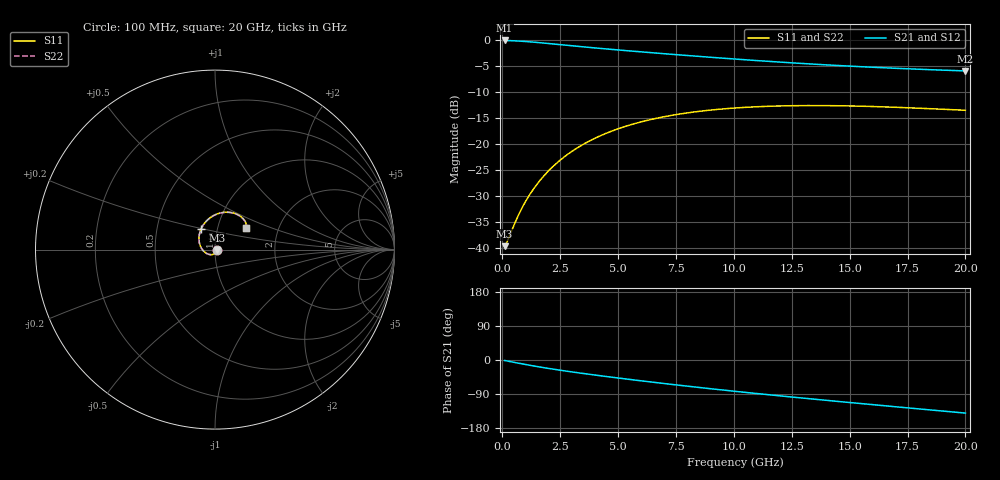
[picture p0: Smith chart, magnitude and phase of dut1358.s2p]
! Touchstone file exported from HFSS 2024.1.0
!  File:  C:/UserFiles/LocalFiles/RDL_TSV_Batchsim/temp_RDL_TSV_1358_1780395724.aedt
!  Generated:  06:34:26 PM Jun  2, 2026
!  Design:  RDL_TSV
!  Project:  temp_RDL_TSV_1358_1780395724
!  Setup:  Setup1
!  Solution:  Sweep
! Variables:
!  dtsv = 9.78um
!  hbump = 3um
!  htsv = 63.3um
!  ldown = 472um
!  lrdl = 146.46um
!  p = 40
!  p1 = 40.98um
!  rhole = 10um
!  subl = 2001.84um
!  t = 450um
!  tdown = 3.28um
!  trdl = 2.67um
!  viad = 10um
!  wdown = 29.39um
!  wrdl = 20.11um
!  xbump = 18um
# GHz S MA R 50.000000
! Terminal data exported
! Port[1] = TM1_1_T1
! Port[2] = TM1_4_T1
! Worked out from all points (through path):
!   200 points, 100 MHz to 20 GHz, reference 50 ohm
!   highest |S21| = -0.09 dB at 100 MHz (marker M1); lowest = -6.0 dB at 20 GHz (marker M2)
!   group delay of S21, straight-line fit = 18.5 ps
!   lowest |S11| = -39.7 dB at 100 MHz (marker M3), VSWR 1.02, Z = 51 - j0.258 ohm
!   |S11| at or under -10 dB: start of sweep to end of sweep
!   |S22| runs from -39.7 to -12.7 dB; largest |S21 - S12| = 1.1e-14
!   S11 on the Smith chart (normalised r, x): 100 MHz: 1.02, -0.01; 5 GHz: 0.84, +0.20; 20 GHz: 1.36, +0.35
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0.1  0.01038 -14.1  0.9895 -1.3  0.9895 -1.3  0.01039 -14.1
! Gamma 0 0 0 0
! Port Impedance 50 0 50 0
0.2  0.01137 -28.3  0.9882 -2.5  0.9882 -2.5  0.01138 -28.3
0.6  0.0185 -76.5  0.9796 -7.3  0.9796 -7.3  0.01851 -76.4
0.9  0.02538 -101.7  0.9706 -10.7  0.9706 -10.7  0.02539 -101.7
1.2  0.03296 -121.6  0.9596 -14.1  0.9596 -14.1  0.03295 -121.5
1.5  0.04101 -138.1  0.9471 -17.3  0.9471 -17.3  0.04099 -137.9
1.9  0.05228 -156.5  0.9291 -21.3  0.9291 -21.3  0.05223 -156.4
2.4  0.06688 -175.6  0.906 -26.1  0.906 -26.1  0.06678 -175.5
2.9  0.08167 168.6  0.8835 -30.6  0.8835 -30.6  0.08151 168.7
3.5  0.09921 152.9  0.8581 -35.6  0.8581 -35.6  0.09898 153.0
4.2  0.1189 137.7  0.8307 -41.3  0.8307 -41.3  0.1186 137.8
5  0.1398 123.4  0.8017 -47.5  0.8017 -47.5  0.1394 123.5
5.9  0.1609 110.1  0.7716 -54.3  0.7716 -54.3  0.1604 110.2
6.8  0.1792 99.0  0.7434 -60.8  0.7434 -60.8  0.1785 99.1
8.4  0.2045 83.0  0.6974 -71.8  0.6974 -71.8  0.2037 83.0
10.1  0.2221 69.6  0.654 -83.0  0.654 -83.0  0.2211 69.7
11.7  0.231 59.7  0.6184 -92.9  0.6184 -92.9  0.2299 59.7
13.4  0.234 51.2  0.586 -103.0  0.586 -103.0  0.2327 51.2
15  0.232 45.0  0.5603 -112.3  0.5603 -112.3  0.2306 45.0
16.7  0.2264 40.1  0.5375 -121.8  0.5375 -121.8  0.2249 40.1
18.3  0.2191 37.0  0.5196 -130.7  0.5196 -130.7  0.2175 37.0
20  0.2108 35.3  0.5039 -140.1  0.5039 -140.1  0.2091 35.4
